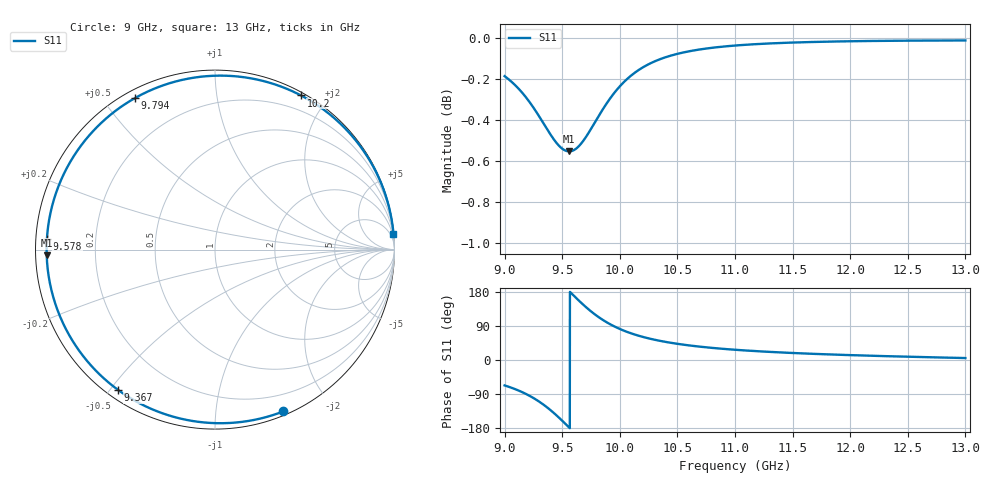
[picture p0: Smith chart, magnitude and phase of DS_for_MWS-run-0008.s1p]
! TOUCHSTONE file generated by CST DESIGN STUDIO
! Date and time: Tue Feb  4 14:06:55 2025
! Project name: C:\Work\MatlabApps\UnitCellOptimizationMatlab\CST\unitcell.cst
! Tree item: Tasks\Sweep1\SPara1\S-Parameters
! Header version: 2024
! Port assignment regex: !\s*Touchstone port\s*([0-9]+)\s*=\s*(CST MWS port|CST DES external port|CST DES block port)\s*(.+)\s* \(\"(.*)\"\)(\s*mode\s*([0-9]+))?.*
! Touchstone port assignment:
! Touchstone port 1 = CST DES external port 1 ("")
# GHz S MA R 50
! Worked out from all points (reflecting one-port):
!   4001 points, 9 GHz to 13 GHz, reference 50 ohm
!   lowest |S11| = -0.6 dB at 9.56 GHz (marker M1), VSWR 31.40, Z = 1.59 - j0.831 ohm
!   phase of S11 starts at -67 deg and turns -288 deg over the sweep
!   S11 on the Smith chart (normalised r, x): 9 GHz: 0.04, -1.51; 9.367 GHz: 0.03, -0.52; 9.578 GHz: 0.03, +0.03; 9.794 GHz: 0.03, +0.60; 10.2 GHz: 0.03, +1.70; 13 GHz: 0, +22
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9  0.9786 -67.1
9.041  0.9766 -71.2
9.107  0.9727 -78.8
9.22  0.9642 -95.1
9.298  0.957 -109.4
9.367  0.9502 -124.6
9.432  0.9442 -141.0
9.5  0.9397 -160.2
9.56  0.9383 -178.1
9.578  0.9384 176.5
9.633  0.9403 160.1
9.693  0.9447 143.1
9.743  0.9494 130.0
9.794  0.9547 118.0
9.838  0.9592 108.6
9.886  0.9638 99.5
9.939  0.9684 90.7
10  0.9731 81.9
10.096  0.9788 70.6
10.201  0.9835 60.9
10.338  0.9877 51.2
10.5  0.9909 42.7
10.721  0.9936 34.3
11  0.9955 27.0
11.5  0.9972 18.5
12  0.9979 12.9
12.5  0.9983 8.7
13  0.9984 5.2
